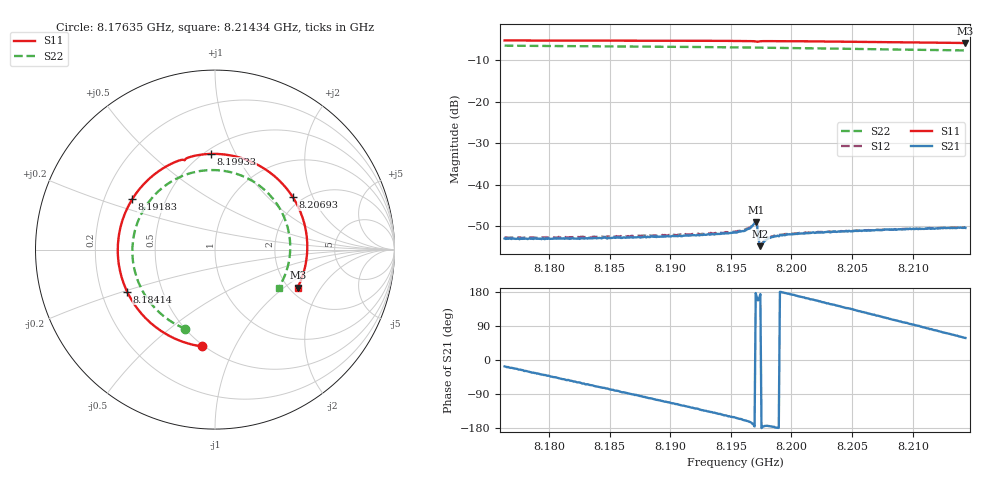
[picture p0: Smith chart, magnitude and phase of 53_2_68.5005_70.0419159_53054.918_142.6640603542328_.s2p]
#  HZ  S  RI  R  50.00
! Rohde & Schwarz Vector Network Analyzer
! Rohde-Schwarz,ZNB20-2Port,1311601062101988,3.16
! Created: UTC 3/20/2024, 5:06:04 PM
! freq[Hz]  re:S11  im:S11  re:S21  im:S21  re:S12  im:S12  re:S22  im:S22
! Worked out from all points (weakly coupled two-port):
!   401 points, 8.17635 GHz to 8.21434 GHz, reference 50 ohm
!   highest |S21| = -48.93 dB at 8.19705 GHz (marker M1); lowest = -54.8 dB at 8.19743 GHz (marker M2)
!   lowest |S11| = -5.9 dB at 8.21434 GHz (marker M3), VSWR 3.06, Z = 111 - j63.1 ohm
!   |S11| at or under -10 dB: nowhere
!   |S22| runs from -7.7 to -6.5 dB; largest |S21 - S12| = 0.0002
!   S11 on the Smith chart (normalised r, x): 8.17635 GHz: 0.49, -0.75; 8.18414 GHz: 0.31, -0.21; 8.19183 GHz: 0.32, +0.25; 8.19933 GHz: 0.54, +0.80; 8.20693 GHz: 1.78, +1.44; 8.21434 GHz: 2.21, -1.26
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8.176348e9  -0.0727 -0.5394  0.00216 -0.000657  0.00224 -0.000701  -0.1646 -0.4415
8.179387e9  -0.2696 -0.4722  0.00173 -0.00138  0.00182 -0.00144  -0.3094 -0.3506
8.182711e9  -0.4394 -0.3194  0.00108 -0.002  0.00111 -0.00209  -0.4183 -0.2014
8.184135e9  -0.4897 -0.2342  0.000748 -0.00217  0.000706 -0.00225  -0.445 -0.1266
8.186605e9  -0.5376 -0.0698  5.98e-05 -0.00231  2.49e-05 -0.00241  -0.4602 0.00956
8.189074e9  -0.5315 0.1019  -0.000666 -0.00227  -0.000739 -0.00233  -0.4344 0.1438
8.191828e9  -0.4612 0.2807  -0.00144 -0.00201  -0.00157 -0.00203  -0.3601 0.277
8.195342e9  -0.2877 0.4539  -0.00236 -0.00126  -0.00245 -0.00119  -0.2077 0.3986
8.196292e9  -0.2277 0.4855  -0.00273 -0.000961  -0.00282 -0.000894  -0.1585 0.4189
8.196957e9  -0.1803 0.5004  -0.00344 -0.000266  -0.00353 -0.000177  -0.1225 0.4295
8.197052e9  -0.1733 0.4997  -0.00357 0.00021  -0.00363 0.000388  -0.1173 0.4309
8.197432e9  -0.1586 0.5084  -0.00182 0.000191  -0.00186 0.000278  -0.0966 0.4355
8.197527e9  -0.1518 0.5117  -0.0019 -1.06e-05  -0.00194 1.84e-05  -0.0912 0.4363
8.198191e9  -0.1043 0.5244  -0.00228 -0.000219  -0.00233 -0.000146  -0.0539 0.4413
8.199331e9  -0.0235 0.5333  -0.00249 8.52e-05  -0.00251 0.00019  0.0107 0.4425
8.201705e9  0.1423 0.5116  -0.0025 0.000928  -0.00247 0.00104  0.1426 0.4143
8.204175e9  0.2984 0.4349  -0.00211 0.00177  -0.00207 0.00184  0.2652 0.3423
8.206929e9  0.4323 0.2938  -0.00134 0.00252  -0.00127 0.00256  0.367 0.2181
8.208069e9  0.4708 0.2224  -0.000919 0.00273  -0.000849 0.00277  0.3946 0.1563
8.211108e9  0.5141 0.0114  0.000296 0.00297  0.000347 0.00294  0.4175 -0.0246
8.212627e9  0.5017 -0.0966  0.000949 0.00288  0.000993 0.00288  0.399 -0.116
8.214337e9  0.4605 -0.2121  0.0016 0.00257  0.00167 0.00256  0.3543 -0.2127
